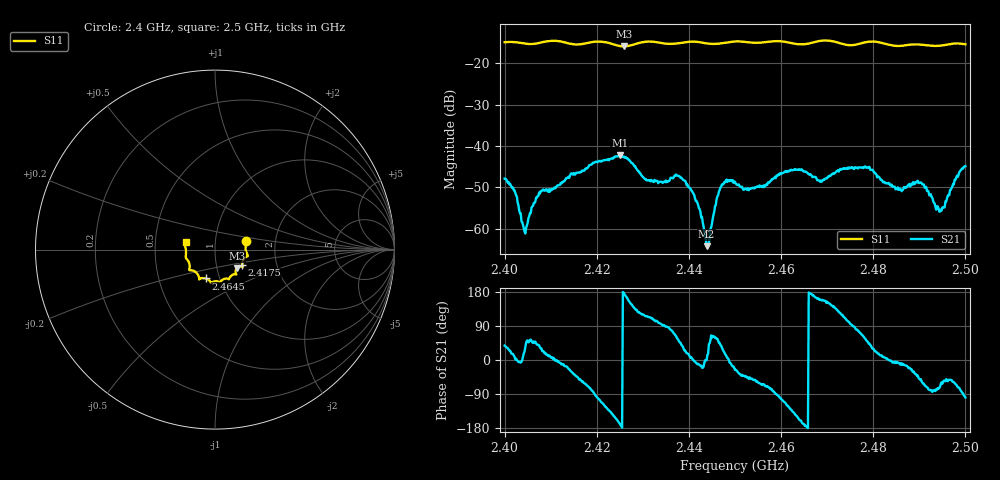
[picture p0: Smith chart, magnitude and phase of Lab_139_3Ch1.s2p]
# Hz S RI R 50
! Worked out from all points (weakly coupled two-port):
!   601 points, 2.4 GHz to 2.5 GHz, reference 50 ohm
!   highest |S21| = -42.31 dB at 2.425 GHz (marker M1); lowest = -64.3 dB at 2.4438 GHz (marker M2)
!   lowest |S11| = -15.9 dB at 2.4258 GHz (marker M3), VSWR 1.38, Z = 62.3 - j13.2 ohm
!   |S11| at or under -10 dB: start of sweep to end of sweep
!   S12 and S22 are empty: the file has one direction only
!   S11 on the Smith chart (normalised r, x): 2.4 GHz: 1.41, +0.14; 2.4175 GHz: 1.34, -0.23; 2.4645 GHz: 0.86, -0.28; 2.5 GHz: 0.72, +0.06
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2.4e9  0.1727 0.0486  0.00317 0.00246  0 0  0 0
2.402167e9  0.1752 0.0392  0.00286 0.000407  0 0  0 0
2.4045e9  0.1709 0.0196  0.000724 0.000482  0 0  0 0
2.408e9  0.1771 -0.0203  0.00245 0.00143  0 0  0 0
2.416667e9  0.1529 -0.0739  0.00278 -0.00395  0 0  0 0
2.4175e9  0.1519 -0.0833  0.00245 -0.00467  0 0  0 0
2.425e9  0.128 -0.0981  -0.0075 -0.00158  0 0  0 0
2.425833e9  0.1215 -0.1033  -0.00727 0.000308  0 0  0 0
2.433333e9  0.1132 -0.1373  -0.000511 0.00349  0 0  0 0
2.438833e9  0.0803 -0.1585  0.0033 0.00195  0 0  0 0
2.442e9  0.0744 -0.1644  0.00189 -0.000345  0 0  0 0
2.443833e9  0.0645 -0.1611  0.000612 -7.68e-06  0 0  0 0
2.447e9  0.0405 -0.1688  0.00253 0.00196  0 0  0 0
2.45e9  0.0287 -0.1807  0.00329 -0.00163  0 0  0 0
2.453167e9  0.0164 -0.1776  0.00209 -0.00214  0 0  0 0
2.4645e9  -0.0519 -0.1605  -0.00502 -0.00133  0 0  0 0
2.466667e9  -0.076 -0.1595  -0.00429 0.000505  0 0  0 0
2.478667e9  -0.1394 -0.1151  0.00352 0.00416  0 0  0 0
2.483333e9  -0.1411 -0.0902  0.00356 -1.32e-06  0 0  0 0
2.490167e9  -0.1631 -0.0392  0.0022 -0.00283  0 0  0 0
2.494833e9  -0.1633 0.00779  0.000852 -0.00142  0 0  0 0
2.5e9  -0.1639 0.0431  -0.000897 -0.00561  0 0  0 0
